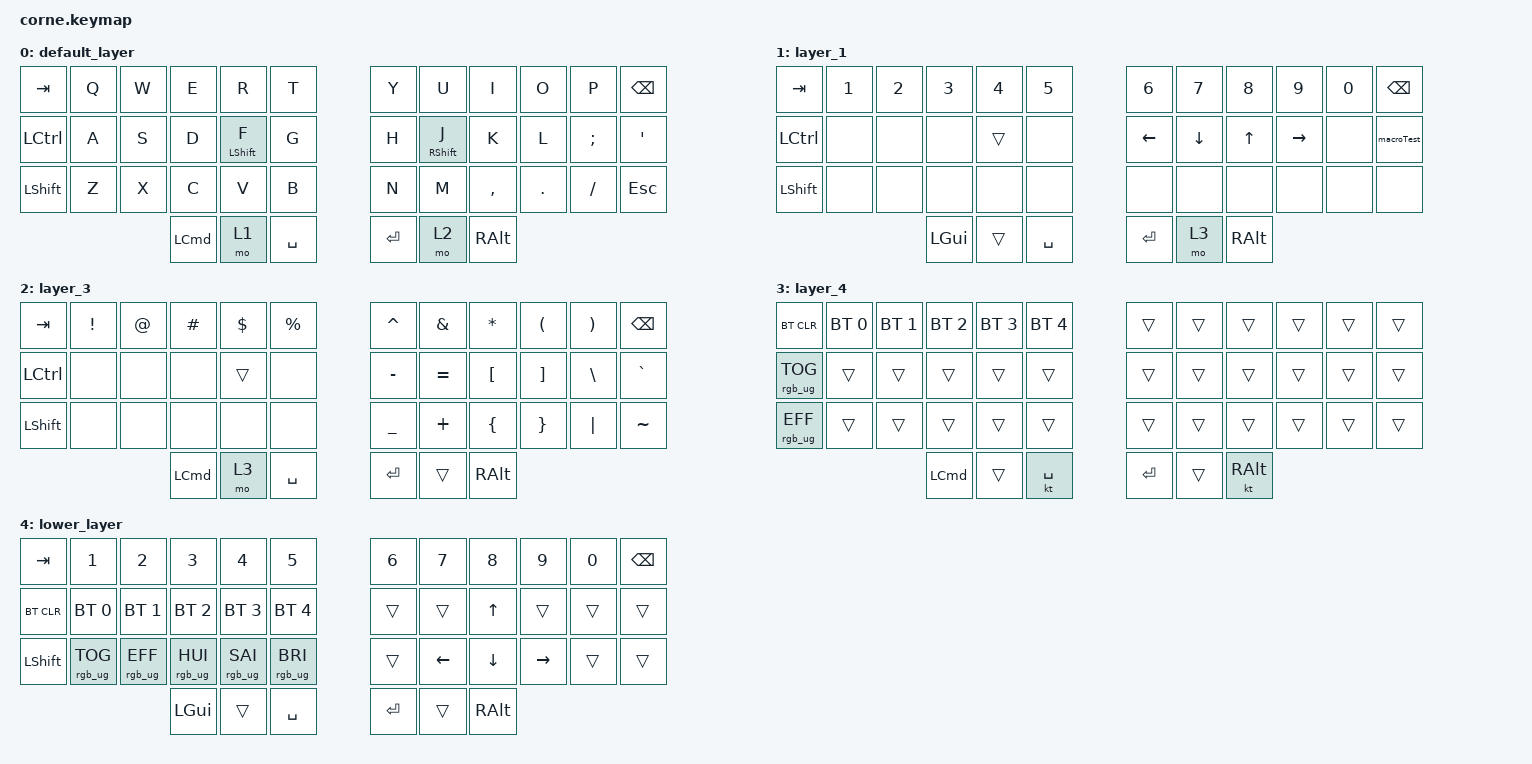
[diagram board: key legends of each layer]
/*
 * Copyright (c) 2020 The ZMK Contributors
 *
 * SPDX-License-Identifier: MIT
 */

#include <behaviors.dtsi>
#include <dt-bindings/zmk/bt.h>
#include <dt-bindings/zmk/keys.h>
#include <dt-bindings/zmk/keys.h>
#include <dt-bindings/zmk/rgb.h>

&mt {
    flavor = "tap-preferred";
    tapping-term-ms = <180>;
    quick-tap-ms = <150>;
};

/ {
    macros {
        macroTest: macroTest {
            compatible = "zmk,behavior-macro";
            #binding-cells = <0>;
            bindings = <&kp N2 &kp N8 &kp N3 &kp N5 &kp N6 &kp N4 &kp N0 &kp N6 &kp N5>;
            label = "MACROTEST";
        };
    };

    keymap {
        compatible = "zmk,keymap";

        default_layer {
            // -----------------------------------------------------------------------------------------
            // |  TAB |  Q  |  W  |  E  |  R  |  T  |   |  Y  |  U   |  I  |  O  |  P  | BKSP |
            // | CTRL |  A  |  S  |  D  |  F  |  G  |   |  H  |  J   |  K  |  L  |  ;  |  '   |
            // | SHFT |  Z  |  X  |  C  |  V  |  B  |   |  N  |  M   |  ,  |  .  |  /  | ESC  |
            //                    | GUI | LWR | SPC |   | ENT | RSE  | ALT |

            bindings = <
&kp TAB           &kp Q  &kp W  &kp E             &kp R             &kp T        &kp Y    &kp U              &kp I      &kp O    &kp P     &kp BSPC
&kp LEFT_CONTROL  &kp A  &kp S  &kp D             &mt LEFT_SHIFT F  &kp G        &kp H    &mt RIGHT_SHIFT J  &kp K      &kp L    &kp SEMI  &kp SQT
&kp LEFT_SHIFT    &kp Z  &kp X  &kp C             &kp V             &kp B        &kp N    &kp M              &kp COMMA  &kp DOT  &kp FSLH  &kp ESC
                                &kp LEFT_COMMAND  &mo 1             &kp SPACE    &kp RET  &mo 2              &kp RALT
            >;
        };

        layer_1 {
            // -----------------------------------------------------------------------------------------
            // |  TAB |  !  |  @  |  #  |  $  |  %  |   |  ^  |  &  |  *  |  (  |  )  | BKSP |
            // | CTRL |     |     |     |     |     |   |  -  |  =  |  [  |  ]  |  \  |  `   |
            // | SHFT |     |     |     |     |     |   |  _  |  +  |  {  |  }  | "|" |  ~   |
            //                    | GUI |     | SPC |   | ENT |     | ALT |

            bindings = <
&kp TAB           &kp NUMBER_1  &kp NUMBER_2  &kp NUMBER_3  &kp NUMBER_4  &kp NUMBER_5    &kp NUMBER_6  &kp NUMBER_7  &kp NUMBER_8  &kp N9     &kp N0  &kp BSPC
&kp LEFT_CONTROL  &none         &none         &none         &trans        &none           &kp LEFT      &kp DOWN      &kp UP        &kp RIGHT  &none   &macroTest
&kp LEFT_SHIFT    &none         &none         &none         &none         &none           &none         &none         &none         &none      &none   &none
                                              &kp LGUI      &trans        &kp SPACE       &kp RET       &mo 3         &kp RALT
            >;
        };

        layer_3 {
            bindings = <
&kp TAB           &kp EXCLAMATION  &kp AT_SIGN  &kp POUND         &kp DOLLAR  &kp PERCENT    &kp CARET  &kp AMPERSAND  &kp ASTERISK   &kp LEFT_PARENTHESIS  &kp RIGHT_PARENTHESIS  &kp BACKSPACE
&kp LEFT_CONTROL  &none            &none        &none             &trans      &none          &kp MINUS  &kp EQUAL      &kp LBKT       &kp RBKT              &kp BACKSLASH          &kp GRAVE
&kp LEFT_SHIFT    &none            &none        &none             &none       &none          &kp UNDER  &kp PLUS       &kp LBRC       &kp RBRC              &kp PIPE               &kp TILDE
                                                &kp LEFT_COMMAND  &mo 3       &kp SPACE      &kp ENTER  &trans         &kp RIGHT_ALT
            >;
        };

        layer_4 {
            bindings = <
&bt BT_CLR       &bt BT_SEL 0  &bt BT_SEL 1  &bt BT_SEL 2      &bt BT_SEL 3  &bt BT_SEL 4    &trans     &trans  &trans         &trans  &trans  &trans
&rgb_ug RGB_TOG  &trans        &trans        &trans            &trans        &trans          &trans     &trans  &trans         &trans  &trans  &trans
&rgb_ug RGB_EFF  &trans        &trans        &trans            &trans        &trans          &trans     &trans  &trans         &trans  &trans  &trans
                                             &kp LEFT_COMMAND  &trans        &kt SPACE       &kp ENTER  &trans  &kt RIGHT_ALT
            >;
        };

        lower_layer {
            // -----------------------------------------------------------------------------------------
            // |  TAB |  1  |  2  |  3  |  4  |  5  |   |  6  |  7  |  8  |  9  |  0  | BKSP |
            // | BTCLR| BT1 | BT2 | BT3 | BT4 | BT5 |   | LFT | DWN |  UP | RGT |     |      |
            // | SHFT |     |     |     |     |     |   |     |     |     |     |     |      |
            //                    | GUI |     | SPC |   | ENT |     | ALT |

            bindings = <
&kp TAB     &kp N1           &kp N2           &kp N3           &kp N4           &kp N5             &kp N6   &kp N7          &kp N8          &kp N9           &kp N0  &kp BSPC
&bt BT_CLR  &bt BT_SEL 0     &bt BT_SEL 1     &bt BT_SEL 2     &bt BT_SEL 3     &bt BT_SEL 4       &trans   &trans          &kp UP          &trans           &trans  &trans
&kp LSHFT   &rgb_ug RGB_TOG  &rgb_ug RGB_EFF  &rgb_ug RGB_HUI  &rgb_ug RGB_SAI  &rgb_ug RGB_BRI    &trans   &kp LEFT_ARROW  &kp DOWN_ARROW  &kp RIGHT_ARROW  &trans  &trans
                                              &kp LGUI         &trans           &kp SPACE          &kp RET  &trans          &kp RALT
            >;
        };
    };
};
